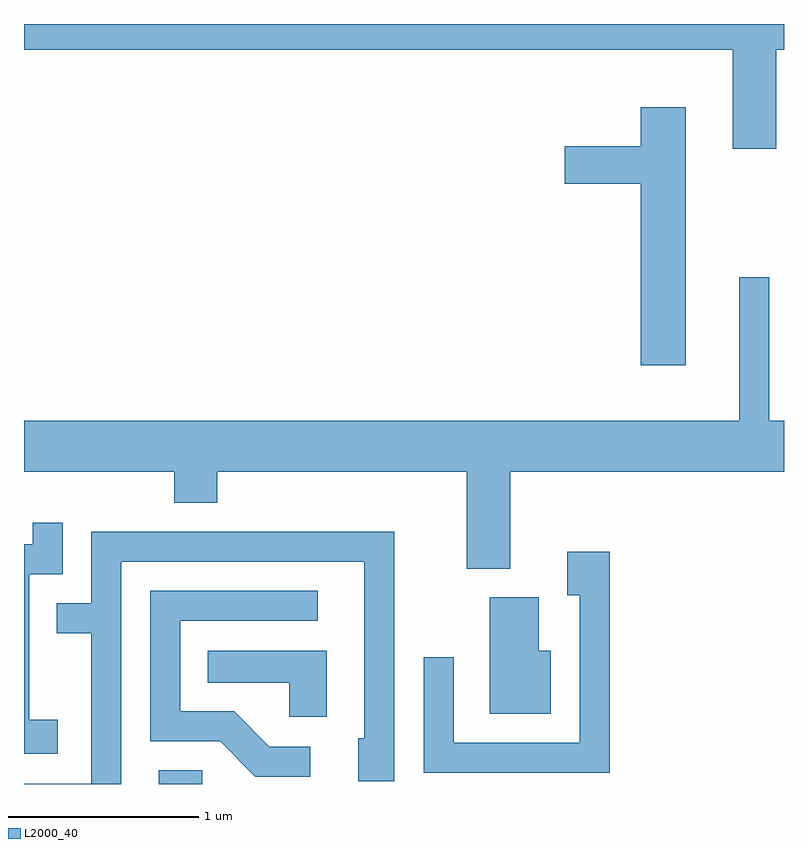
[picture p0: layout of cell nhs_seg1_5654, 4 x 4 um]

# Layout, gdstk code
import gdstk
lib = gdstk.Library(unit=1e-6, precision=1e-09)
def R(c, l, rs):  # rectangles x0, y0, x1, y1
    for r in rs: c.add(gdstk.rectangle(r[:2], r[2:], *l))
def P(c, l, *ps):  # polygons
    for p in ps: c.add(gdstk.Polygon(p, *l))
L2000_40 = (2000, 40)

nhs_seg1_5654 = lib.new_cell('nhs_seg1_5654')
R(nhs_seg1_5654, L2000_40, [(356.321,895.712,356.549,895.784)])
P(nhs_seg1_5654, L2000_40, [(359.569,899.576),(359.611,899.576),(359.611,899.712),(355.611,899.712),(355.611,899.576),(359.341,899.576),(359.341,899.056),(359.569,899.056)],
  [(359.094,899.274),(358.856,899.274),(358.856,899.069),(358.456,899.069),(358.456,898.871),(358.856,898.871),(358.856,897.916),(359.094,897.916)],
  [(358.169,897.356),(359.611,897.356),(359.611,897.624),(359.534,897.624),(359.534,898.378),(359.376,898.378),(359.376,897.624),(355.611,897.624),(355.611,897.356),(356.401,897.356),(356.401,897.191),(356.629,897.191),(356.629,897.356),(357.941,897.356),(357.941,896.846),(358.169,896.846)],
  [(355.789,896.049),(355.639,896.049),(355.639,896.816),(355.814,896.816),(355.814,897.088),(355.656,897.088),(355.656,896.974),(355.611,896.974),(355.611,895.871),(355.789,895.871)],
  [(356.124,896.881),(357.401,896.881),(357.401,895.954),(357.371,895.954),(357.371,895.726),(357.559,895.726),(357.559,897.039),(355.966,897.039),(355.966,896.664),(355.783,896.664),(355.783,896.506),(355.966,896.506),(355.966,895.714),(355.611,895.714),(355.611,895.712),(356.124,895.712)],
  [(358.694,896.934),(358.471,896.934),(358.471,896.706),(358.536,896.706),(358.536,895.929),(357.874,895.929),(357.874,896.378),(357.716,896.378),(357.716,895.771),(358.694,895.771)],
  [(357.118,895.909),(356.902,895.909),(356.717,896.094),(356.434,896.094),(356.434,896.571),(357.158,896.571),(357.158,896.729),(356.276,896.729),(356.276,895.936),(356.644,895.936),(356.829,895.751),(357.118,895.751)],
  [(358.384,896.414),(358.319,896.414),(358.319,896.694),(358.061,896.694),(358.061,896.081),(358.384,896.081)],
  [(357.204,896.414),(356.578,896.414),(356.578,896.246),(357.006,896.246),(357.006,896.066),(357.204,896.066)])

lib.write_gds('nhs_seg1_5654.gds')
